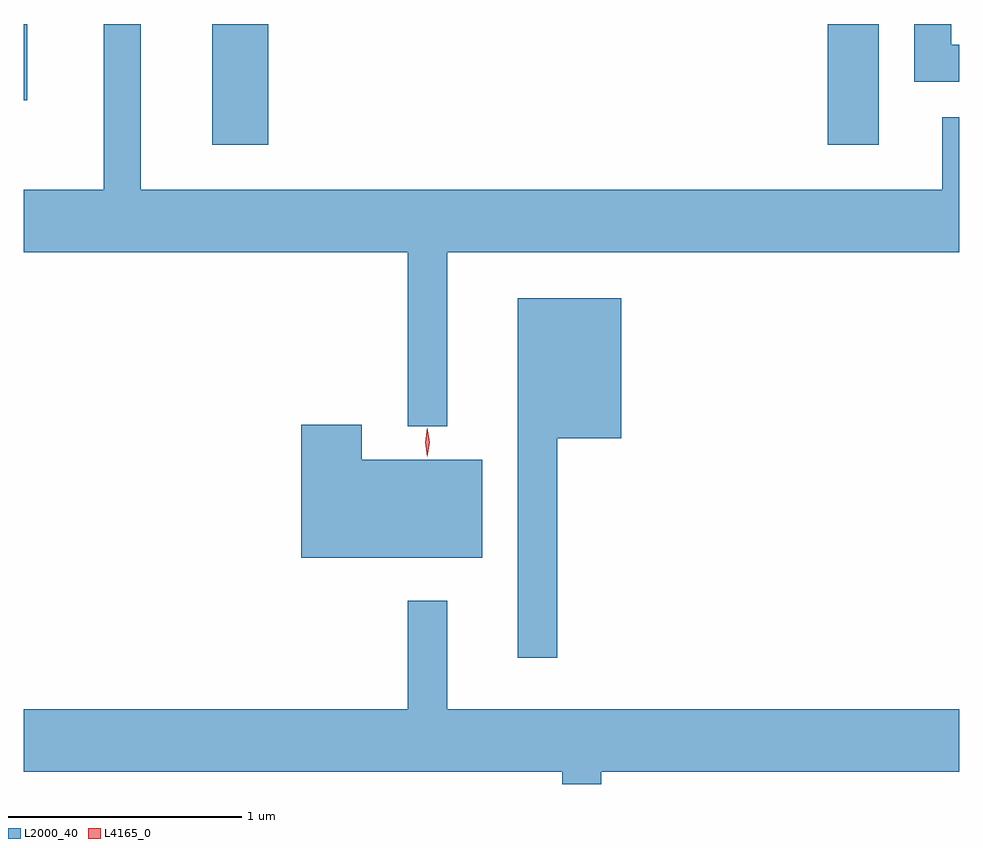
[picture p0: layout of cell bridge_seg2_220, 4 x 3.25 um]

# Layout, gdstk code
import gdstk
lib = gdstk.Library(unit=1e-6, precision=1e-09)
def R(c, l, rs):  # rectangles x0, y0, x1, y1
    for r in rs: c.add(gdstk.rectangle(r[:2], r[2:], *l))
def P(c, l, *ps):  # polygons
    for p in ps: c.add(gdstk.Polygon(p, *l))
L2000_40 = (2000, 40)
L4165_0 = (4165, 0)

bridge_seg2_220 = lib.new_cell('bridge_seg2_220')
R(bridge_seg2_220, L2000_40, [(587.476,1115.376,587.714,1115.892), (590.106,1115.376,590.324,1115.892), (586.669,1115.566,586.684,1115.892)])
P(bridge_seg2_220, L2000_40, [(588.479,1114.916),(590.669,1114.916),(590.669,1115.494),(590.596,1115.494),(590.596,1115.184),(587.169,1115.184),(587.169,1115.892),(587.011,1115.892),(587.011,1115.184),(586.669,1115.184),(586.669,1114.916),(588.311,1114.916),(588.311,1114.173),(588.479,1114.173)],
  [(590.669,1115.804),(590.634,1115.804),(590.634,1115.892),(590.476,1115.892),(590.476,1115.646),(590.669,1115.646)],
  [(588.949,1114.121),(589.224,1114.121),(589.224,1114.719),(588.781,1114.719),(588.781,1113.183),(588.949,1113.183)],
  [(588.629,1114.029),(588.114,1114.029),(588.114,1114.179),(587.856,1114.179),(587.856,1113.611),(588.629,1113.611)],
  [(589.139,1112.696),(590.669,1112.696),(590.669,1112.964),(588.479,1112.964),(588.479,1113.428),(588.311,1113.428),(588.311,1112.964),(586.669,1112.964),(586.669,1112.696),(588.971,1112.696),(588.971,1112.644),(589.139,1112.644)])
P(bridge_seg2_220, L4165_0, [(588.394,1114.042),(588.385,1114.104),(588.394,1114.166),(588.395,1114.167),(588.395,1114.166),(588.405,1114.104),(588.395,1114.042),(588.395,1114.042)])

lib.write_gds('bridge_seg2_220.gds')
